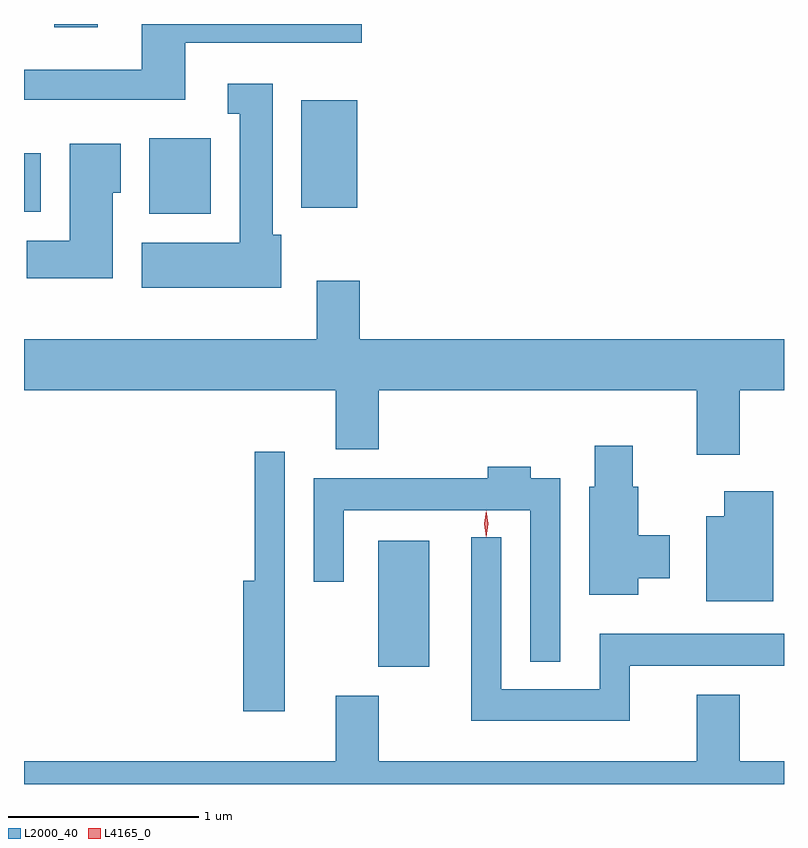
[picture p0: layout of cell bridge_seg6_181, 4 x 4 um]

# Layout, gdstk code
import gdstk
lib = gdstk.Library(unit=1e-6, precision=1e-09)
def R(c, l, rs):  # rectangles x0, y0, x1, y1
    for r in rs: c.add(gdstk.rectangle(r[:2], r[2:], *l))
def P(c, l, *ps):  # polygons
    for p in ps: c.add(gdstk.Polygon(p, *l))
L2000_40 = (2000, 40)
L4165_0 = (4165, 0)

bridge_seg6_181 = lib.new_cell('bridge_seg6_181')
R(bridge_seg6_181, L2000_40, [(1106.226,1568.561,1106.494,1569.224), (1105.021,1570.946,1105.344,1571.344), (1104.361,1570.956,1104.449,1571.264), (1105.821,1570.976,1106.114,1571.544), (1104.521,1571.926,1104.749,1571.944)])
P(bridge_seg6_181, L2000_40, [(1105.209,1571.846),(1106.138,1571.846),(1106.138,1571.944),(1104.981,1571.944),(1104.981,1571.704),(1104.361,1571.704),(1104.361,1571.546),(1105.209,1571.546)],
  [(1105.714,1570.834),(1105.669,1570.834),(1105.669,1571.629),(1105.433,1571.629),(1105.433,1571.471),(1105.496,1571.471),(1105.496,1570.794),(1104.981,1570.794),(1104.981,1570.556),(1105.714,1570.556)],
  [(1104.829,1571.056),(1104.869,1571.056),(1104.869,1571.314),(1104.601,1571.314),(1104.601,1570.804),(1104.376,1570.804),(1104.376,1570.606),(1104.829,1570.606)],
  [(1106.001,1569.706),(1106.229,1569.706),(1106.229,1570.016),(1107.901,1570.016),(1107.901,1569.676),(1108.129,1569.676),(1108.129,1570.016),(1108.361,1570.016),(1108.361,1570.284),(1106.129,1570.284),(1106.129,1570.594),(1105.901,1570.594),(1105.901,1570.284),(1104.361,1570.284),(1104.361,1570.016),(1106.001,1570.016)],
  [(1107.594,1569.026),(1107.759,1569.026),(1107.759,1569.254),(1107.594,1569.254),(1107.594,1569.509),(1107.564,1569.509),(1107.564,1569.724),(1107.366,1569.724),(1107.366,1569.509),(1107.336,1569.509),(1107.336,1568.941),(1107.594,1568.941)],
  [(1105.734,1569.693),(1105.576,1569.693),(1105.576,1569.014),(1105.516,1569.014),(1105.516,1568.326),(1105.734,1568.326)],
  [(1107.184,1569.554),(1107.029,1569.554),(1107.029,1569.614),(1106.801,1569.614),(1106.801,1569.554),(1105.886,1569.554),(1105.886,1569.008),(1106.044,1569.008),(1106.044,1569.386),(1107.026,1569.386),(1107.026,1568.588),(1107.184,1568.588)],
  [(1108.304,1569.484),(1108.046,1569.484),(1108.046,1569.354),(1107.951,1569.354),(1107.951,1568.906),(1108.304,1568.906)],
  [(1107.549,1568.566),(1108.361,1568.566),(1108.361,1568.734),(1107.391,1568.734),(1107.391,1568.444),(1106.874,1568.444),(1106.874,1569.243),(1106.716,1569.243),(1106.716,1568.276),(1107.549,1568.276)],
  [(1108.361,1568.064),(1108.129,1568.064),(1108.129,1568.414),(1107.901,1568.414),(1107.901,1568.064),(1106.229,1568.064),(1106.229,1568.409),(1106.001,1568.409),(1106.001,1568.064),(1104.361,1568.064),(1104.361,1567.944),(1108.361,1567.944)])
P(bridge_seg6_181, L4165_0, [(1106.794,1569.244),(1106.794,1569.244),(1106.784,1569.313),(1106.794,1569.382),(1106.794,1569.383),(1106.795,1569.382),(1106.804,1569.313),(1106.795,1569.244)])

lib.write_gds('bridge_seg6_181.gds')
